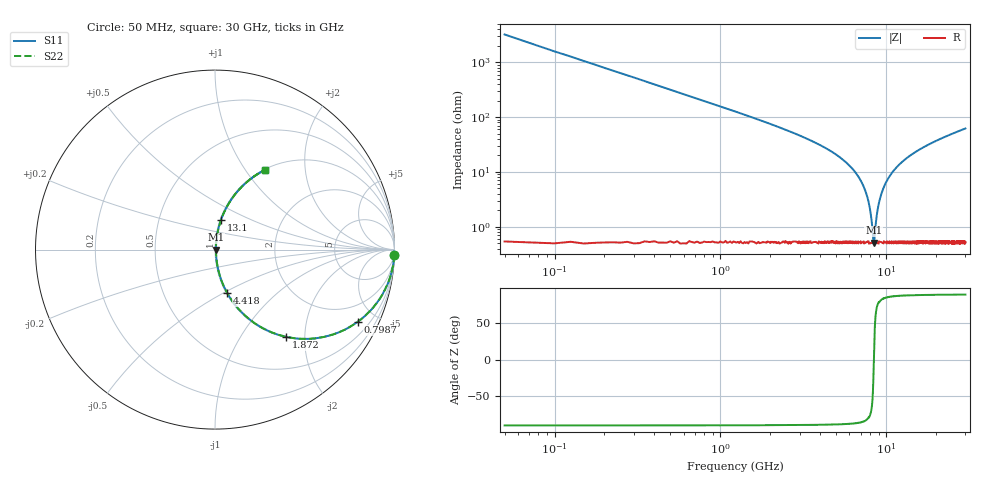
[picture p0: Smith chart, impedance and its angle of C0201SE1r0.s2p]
!	AVX Thin Film Operation 	Date: April 2014
!	Description: Accu-P® Series, Thin Film  SMD RF Capacitor
!	Part Number: 02015J1R0PBSTR
# MHZ S MA R 50
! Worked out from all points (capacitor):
!   1201 points, 50 MHz to 30 GHz, reference 50 ohm
!   read as one part in series: C = 999 fF near 199.8 MHz
!   lowest |Z| = 512 mohm at 8.411 GHz (marker M1)
!   series resonance near 8.417 GHz, so ESL is about 360 pH
!   S11 on the Smith chart (normalised r, x): 50 MHz: 0, -64; 798.8 MHz: 1.01, -3.95; 1.872 GHz: 1.01, -1.62; 4.418 GHz: 1.01, -0.52; 13.1 GHz: 1.01, +0.35; 30 GHz: 1.01, +1.24
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50  1 -1.8  0.031 88.2  0.031 88.2  1 -1.8
249.667  0.988 -8.9  0.155 81.0  0.155 81.0  0.988 -8.9
349.5  0.976 -12.4  0.215 77.5  0.215 77.5  0.976 -12.4
798.75  0.891 -26.8  0.451 63.0  0.451 63.0  0.891 -26.8
1871.958  0.627 -50.8  0.775 38.8  0.775 38.8  0.627 -50.8
2945.167  0.427 -64.1  0.9 25.3  0.9 25.3  0.427 -64.1
4417.708  0.251 -74.3  0.963 14.6  0.963 14.6  0.251 -74.3
5041.667  0.197 -77.1  0.975 11.4  0.975 11.4  0.197 -77.1
6439.333  0.102 -81.3  0.99 5.8  0.99 5.8  0.102 -81.3
7412.708  0.048 -81.1  0.994 2.7  0.994 2.7  0.048 -81.1
7911.875  0.024 -76.2  0.995 1.3  0.995 1.3  0.024 -76.2
8411.042  0.005171 -3.1  0.995 0.0  0.995 0.0  0.005171 -3.1
8510.875  0.006629 38.6  0.995 -0.2  0.995 -0.2  0.006629 38.6
8835.333  0.019 73.1  0.995 -1.0  0.995 -1.0  0.019 73.1
9084.917  0.029 78.2  0.994 -1.6  0.994 -1.6  0.029 78.2
10058.29  0.067 81.8  0.993 -3.9  0.993 -3.9  0.067 81.8
11306.21  0.112 80.9  0.989 -6.4  0.989 -6.4  0.112 80.9
13103.21  0.17 78.5  0.98 -9.8  0.98 -9.8  0.17 78.5
15025  0.225 75.7  0.969 -13.0  0.969 -13.0  0.225 75.7
20016.67  0.346 69.0  0.934 -20.2  0.934 -20.2  0.346 69.0
25033.29  0.444 63.0  0.891 -26.4  0.891 -26.4  0.444 63.0
30000  0.526 57.8  0.846 -31.7  0.846 -31.7  0.526 57.8
